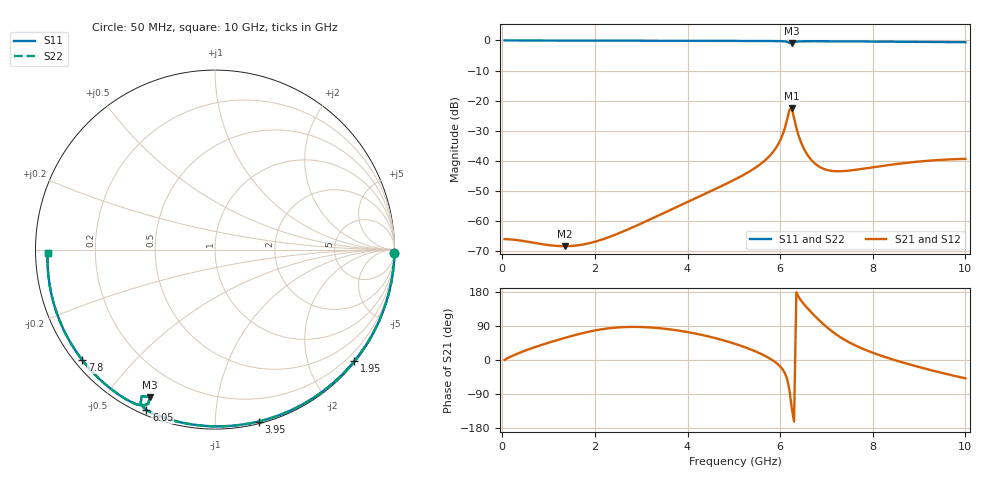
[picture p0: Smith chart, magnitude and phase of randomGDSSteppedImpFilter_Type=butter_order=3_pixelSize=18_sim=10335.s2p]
! freq	dB(S11)	phase(S11)	dB(S12)	phase(S12)
!  dB(S21)	phase(S21)	dB(S22)	phase(S22)
!S-par simulation data
#  GHz  S  DB  R 50
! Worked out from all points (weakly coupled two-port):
!   200 points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, 50 MHz to 10 GHz, reference 50 ohm
!   highest |S21| = -22.49 dB at 6.25 GHz (marker M1); lowest = -68.3 dB at 1.35 GHz (marker M2)
!   lowest |S11| = -0.9 dB at 6.25 GHz (marker M3), VSWR 18.58, Z = 3.83 - j32.5 ohm
!   |S11| at or under -10 dB: nowhere
!   |S22| runs from -0.9 to 0.0 dB; largest |S21 - S12| = 0
!   S11 on the Smith chart (normalised r, x): 50 MHz: open; 1.95 GHz: 0.03, -2.85; 3.95 GHz: 0.02, -1.28; 6.05 GHz: 0.02, -0.66; 7.8 GHz: 0.02, -0.36; 10 GHz: 0.03, -0.01
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0.05  -0.00 -1.0  -65.97 0.2  -65.97 0.2  -0.00 -1.0
1.35  -0.03 -26.9  -68.32 58.4  -68.32 58.4  -0.03 -26.9
1.75  -0.04 -34.8  -67.75 71.4  -67.75 71.4  -0.04 -34.7
1.95  -0.05 -38.6  -67.06 76.8  -67.06 76.8  -0.05 -38.6
3.4  -0.09 -65.9  -57.95 83.9  -57.95 83.9  -0.09 -65.8
3.95  -0.10 -75.8  -54.00 74.8  -54.00 74.8  -0.10 -75.8
5.05  -0.15 -95.1  -45.95 41.7  -45.95 41.7  -0.15 -95.0
5.7  -0.18 -106.3  -39.46 9.3  -39.46 9.3  -0.18 -106.3
5.9  -0.20 -110.0  -35.90 -6.1  -35.90 -6.1  -0.20 -110.0
6.05  -0.25 -113.2  -31.42 -24.1  -31.42 -24.1  -0.25 -113.1
6.2  -0.79 -116.6  -23.05 -79.0  -23.05 -79.0  -0.79 -116.5
6.25  -0.94 -113.8  -22.49 -126.5  -22.49 -126.5  -0.93 -113.8
6.35  -0.40 -114.6  -29.02 178.5  -29.02 178.5  -0.40 -114.6
6.45  -0.30 -117.0  -33.82 157.1  -33.82 157.1  -0.30 -117.0
6.55  -0.27 -119.0  -37.01 142.0  -37.01 142.0  -0.27 -118.9
6.7  -0.26 -121.7  -40.13 122.3  -40.13 122.3  -0.26 -121.7
6.9  -0.27 -125.2  -42.38 98.4  -42.38 98.4  -0.27 -125.2
7.1  -0.28 -128.6  -43.28 77.5  -43.28 77.5  -0.28 -128.5
7.8  -0.34 -140.3  -42.59 28.7  -42.59 28.7  -0.34 -140.2
8.35  -0.39 -149.5  -41.37 4.5  -41.37 4.5  -0.39 -149.5
9.2  -0.49 -164.2  -39.95 -25.0  -39.95 -25.0  -0.49 -164.2
10  -0.60 -178.7  -39.32 -48.5  -39.32 -48.5  -0.60 -178.7
